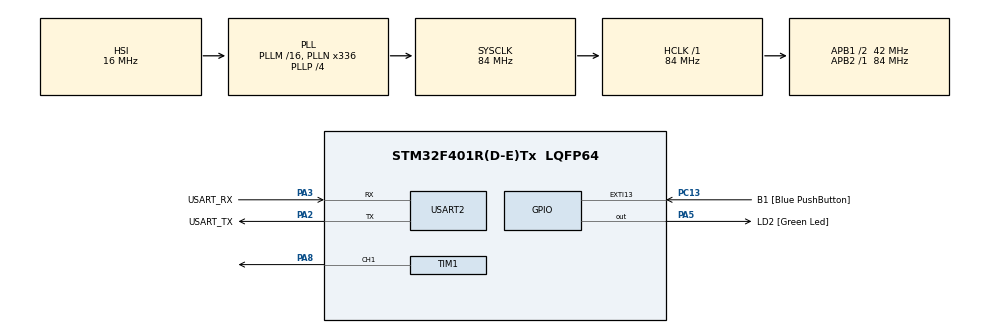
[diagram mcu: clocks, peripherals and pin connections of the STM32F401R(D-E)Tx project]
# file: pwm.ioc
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Mcu.Family=STM32F4
Mcu.Name=STM32F401R(D-E)Tx
Mcu.Package=LQFP64
NVIC.PriorityGroup=NVIC_PRIORITYGROUP_0
NVIC.TIM1_UP_TIM10_IRQn=true\:0\:0\:false\:false\:true\:true\:true\:true
PA13.GPIO_Label=TMS
PA13.Mode=Serial_Wire
PA13.Signal=SYS_JTMS-SWDIO
PA14.GPIO_Label=TCK
PA14.Mode=Serial_Wire
PA14.Signal=SYS_JTCK-SWCLK
PA2.GPIO_Label=USART_TX
PA2.GPIO_Mode=GPIO_MODE_AF_PP
PA2.GPIO_PuPd=GPIO_NOPULL
PA2.GPIO_Speed=GPIO_SPEED_FREQ_LOW
PA2.Mode=Asynchronous
PA2.Signal=USART2_TX
PA3.GPIO_Label=USART_RX
PA3.GPIO_Mode=GPIO_MODE_AF_PP
PA3.GPIO_PuPd=GPIO_NOPULL
PA3.GPIO_Speed=GPIO_SPEED_FREQ_LOW
PA3.Mode=Asynchronous
PA3.Signal=USART2_RX
PA5.GPIO_Label=LD2 [Green Led]
PA5.GPIO_Mode=GPIO_MODE_OUTPUT_PP
PA5.GPIO_PuPd=GPIO_NOPULL
PA5.GPIO_Speed=GPIO_SPEED_FREQ_LOW
PA5.Signal=GPIO_Output
PA8.Signal=S_TIM1_CH1
PB3.GPIO_Label=SWO
PB3.Signal=SYS_JTDO-SWO
PC13-ANTI_TAMP.GPIO_Label=B1 [Blue PushButton]
PC13-ANTI_TAMP.GPIO_ModeDefaultEXTI=GPIO_MODE_IT_FALLING
PC13-ANTI_TAMP.GPIO_PuPd=GPIO_NOPULL
PC13-ANTI_TAMP.Signal=GPXTI13
PC14-OSC32_IN.Mode=LSE-External-Oscillator
PC14-OSC32_IN.Signal=RCC_OSC32_IN
PC15-OSC32_OUT.Mode=LSE-External-Oscillator
PC15-OSC32_OUT.Signal=RCC_OSC32_OUT
PH0\ -\ OSC_IN.Mode=HSE-External-Clock-Source
PH0\ -\ OSC_IN.Signal=RCC_OSC_IN
PH1\ -\ OSC_OUT.Mode=HSE-External-Clock-Source
PH1\ -\ OSC_OUT.Signal=RCC_OSC_OUT
ProjectManager.HeapSize=0x200
ProjectManager.StackSize=0x400
ProjectManager.TargetToolchain=STM32CubeIDE
RCC.48MHZClocksFreq_Value=48000000
RCC.AHBFreq_Value=84000000
RCC.APB1CLKDivider=RCC_HCLK_DIV2
RCC.APB1Freq_Value=42000000
RCC.APB1TimFreq_Value=84000000
RCC.APB2Freq_Value=84000000
RCC.APB2TimFreq_Value=84000000
RCC.CortexFreq_Value=84000000
RCC.HCLKFreq_Value=84000000
RCC.HSE_VALUE=8000000
RCC.HSI_VALUE=16000000
RCC.PLLN=336
RCC.PLLP=RCC_PLLP_DIV4
RCC.PLLQ=7
RCC.SYSCLKFreq_VALUE=84000000
RCC.SYSCLKSource=RCC_SYSCLKSOURCE_PLLCLK
RCC.VCOOutputFreq_Value=336000000
SH.S_TIM1_CH1.0=TIM1_CH1,PWM Generation1 CH1
TIM1.AutoReloadPreload=TIM_AUTORELOAD_PRELOAD_ENABLE
TIM1.Channel-PWM\ Generation1\ CH1=TIM_CHANNEL_1
TIM1.OCFastMode_PWM-PWM\ Generation1\ CH1=TIM_OCFAST_ENABLE
TIM1.Period=47
TIM1.Pulse-PWM\ Generation1\ CH1=23
TIM1.TIM_MasterOutputTrigger=TIM_TRGO_UPDATE
USART2.VirtualMode=VM_ASYNC
VP_TIM1_VS_ClockSourceINT.Mode=Internal
board=NUCLEO-F401RE

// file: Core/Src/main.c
/* USER CODE BEGIN Header */
/**
  ******************************************************************************
  * @file           : main.c
  * @brief          : Main program body
  ******************************************************************************
  * @attention
  *
  * Copyright (c) 2024 STMicroelectronics.
  * All rights reserved.
  *
  * This software is licensed under terms that can be found in the LICENSE file
  * in the root directory of this software component.
  * If no LICENSE file comes with this software, it is provided AS-IS.
  *
  ******************************************************************************
  */
/* USER CODE END Header */
#include "main.h"

TIM_HandleTypeDef htim1;

UART_HandleTypeDef huart2;

/* USER CODE BEGIN PV */
volatile int counter=0;
/* USER CODE END PV */

void SystemClock_Config(void);
static void MX_GPIO_Init(void);
static void MX_USART2_UART_Init(void);
static void MX_TIM1_Init(void);

int main(void)
{

  /* MCU Configuration--------------------------------------------------------*/

  /* Reset of all peripherals, Initializes the Flash interface and the Systick. */
  HAL_Init();

  /* Configure the system clock */
  SystemClock_Config();

  /* Initialize all configured peripherals */
  MX_GPIO_Init();
  MX_USART2_UART_Init();
  MX_TIM1_Init();
  /* USER CODE BEGIN 2 */
  HAL_TIM_PWM_Start(&htim1, TIM_CHANNEL_1);
  HAL_TIM_Base_Start_IT(&htim1);
  /* USER CODE END 2 */

  /* Infinite loop */
  while (1)
  {

  }
}

void SystemClock_Config(void)
{
  RCC_OscInitTypeDef RCC_OscInitStruct = {0};
  RCC_ClkInitTypeDef RCC_ClkInitStruct = {0};

  /** Configure the main internal regulator output voltage
  */
  __HAL_RCC_PWR_CLK_ENABLE();
  __HAL_PWR_VOLTAGESCALING_CONFIG(PWR_REGULATOR_VOLTAGE_SCALE2);

  /** Initializes the RCC Oscillators according to the specified parameters
  * in the RCC_OscInitTypeDef structure.
  */
  RCC_OscInitStruct.OscillatorType = RCC_OSCILLATORTYPE_HSI;
  RCC_OscInitStruct.HSIState = RCC_HSI_ON;
  RCC_OscInitStruct.HSICalibrationValue = RCC_HSICALIBRATION_DEFAULT;
  RCC_OscInitStruct.PLL.PLLState = RCC_PLL_ON;
  RCC_OscInitStruct.PLL.PLLSource = RCC_PLLSOURCE_HSI;
  RCC_OscInitStruct.PLL.PLLM = 16;
  RCC_OscInitStruct.PLL.PLLN = 336;
  RCC_OscInitStruct.PLL.PLLP = RCC_PLLP_DIV4;
  RCC_OscInitStruct.PLL.PLLQ = 7;
  if (HAL_RCC_OscConfig(&RCC_OscInitStruct) != HAL_OK)
  {
    Error_Handler();
  }

  /** Initializes the CPU, AHB and APB buses clocks
  */
  RCC_ClkInitStruct.ClockType = RCC_CLOCKTYPE_HCLK|RCC_CLOCKTYPE_SYSCLK
                              |RCC_CLOCKTYPE_PCLK1|RCC_CLOCKTYPE_PCLK2;
  RCC_ClkInitStruct.SYSCLKSource = RCC_SYSCLKSOURCE_PLLCLK;
  RCC_ClkInitStruct.AHBCLKDivider = RCC_SYSCLK_DIV1;
  RCC_ClkInitStruct.APB1CLKDivider = RCC_HCLK_DIV2;
  RCC_ClkInitStruct.APB2CLKDivider = RCC_HCLK_DIV1;

  if (HAL_RCC_ClockConfig(&RCC_ClkInitStruct, FLASH_LATENCY_2) != HAL_OK)
  {
    Error_Handler();
  }
}

static void MX_TIM1_Init(void)
{

  TIM_ClockConfigTypeDef sClockSourceConfig = {0};
  TIM_MasterConfigTypeDef sMasterConfig = {0};
  TIM_OC_InitTypeDef sConfigOC = {0};
  TIM_BreakDeadTimeConfigTypeDef sBreakDeadTimeConfig = {0};

  htim1.Instance = TIM1;
  htim1.Init.Prescaler = 0;
  htim1.Init.CounterMode = TIM_COUNTERMODE_UP;
  htim1.Init.Period = 47;
  htim1.Init.ClockDivision = TIM_CLOCKDIVISION_DIV1;
  htim1.Init.RepetitionCounter = 0;
  htim1.Init.AutoReloadPreload = TIM_AUTORELOAD_PRELOAD_ENABLE;
  if (HAL_TIM_Base_Init(&htim1) != HAL_OK)
  {
    Error_Handler();
  }
  sClockSourceConfig.ClockSource = TIM_CLOCKSOURCE_INTERNAL;
  if (HAL_TIM_ConfigClockSource(&htim1, &sClockSourceConfig) != HAL_OK)
  {
    Error_Handler();
  }
  if (HAL_TIM_PWM_Init(&htim1) != HAL_OK)
  {
    Error_Handler();
  }
  sMasterConfig.MasterOutputTrigger = TIM_TRGO_UPDATE;
  sMasterConfig.MasterSlaveMode = TIM_MASTERSLAVEMODE_DISABLE;
  if (HAL_TIMEx_MasterConfigSynchronization(&htim1, &sMasterConfig) != HAL_OK)
  {
    Error_Handler();
  }
  sConfigOC.OCMode = TIM_OCMODE_PWM1;
  sConfigOC.Pulse = 23;
  sConfigOC.OCPolarity = TIM_OCPOLARITY_HIGH;
  sConfigOC.OCNPolarity = TIM_OCNPOLARITY_HIGH;
  sConfigOC.OCFastMode = TIM_OCFAST_ENABLE;
  sConfigOC.OCIdleState = TIM_OCIDLESTATE_RESET;
  sConfigOC.OCNIdleState = TIM_OCNIDLESTATE_RESET;
  if (HAL_TIM_PWM_ConfigChannel(&htim1, &sConfigOC, TIM_CHANNEL_1) != HAL_OK)
  {
    Error_Handler();
  }
  sBreakDeadTimeConfig.OffStateRunMode = TIM_OSSR_DISABLE;
  sBreakDeadTimeConfig.OffStateIDLEMode = TIM_OSSI_DISABLE;
  sBreakDeadTimeConfig.LockLevel = TIM_LOCKLEVEL_OFF;
  sBreakDeadTimeConfig.DeadTime = 0;
  sBreakDeadTimeConfig.BreakState = TIM_BREAK_DISABLE;
  sBreakDeadTimeConfig.BreakPolarity = TIM_BREAKPOLARITY_HIGH;
  sBreakDeadTimeConfig.AutomaticOutput = TIM_AUTOMATICOUTPUT_DISABLE;
  if (HAL_TIMEx_ConfigBreakDeadTime(&htim1, &sBreakDeadTimeConfig) != HAL_OK)
  {
    Error_Handler();
  }
  HAL_TIM_MspPostInit(&htim1);

}

static void MX_USART2_UART_Init(void)
{

  huart2.Instance = USART2;
  huart2.Init.BaudRate = 115200;
  huart2.Init.WordLength = UART_WORDLENGTH_8B;
  huart2.Init.StopBits = UART_STOPBITS_1;
  huart2.Init.Parity = UART_PARITY_NONE;
  huart2.Init.Mode = UART_MODE_TX_RX;
  huart2.Init.HwFlowCtl = UART_HWCONTROL_NONE;
  huart2.Init.OverSampling = UART_OVERSAMPLING_16;
  if (HAL_UART_Init(&huart2) != HAL_OK)
  {
    Error_Handler();
  }

}

static void MX_GPIO_Init(void)
{
  GPIO_InitTypeDef GPIO_InitStruct = {0};

  /* GPIO Ports Clock Enable */
  __HAL_RCC_GPIOC_CLK_ENABLE();
  __HAL_RCC_GPIOH_CLK_ENABLE();
  __HAL_RCC_GPIOA_CLK_ENABLE();
  __HAL_RCC_GPIOB_CLK_ENABLE();

  /*Configure GPIO pin Output Level */
  HAL_GPIO_WritePin(LD2_GPIO_Port, LD2_Pin, GPIO_PIN_RESET);

  /*Configure GPIO pin : B1_Pin */
  GPIO_InitStruct.Pin = B1_Pin;
  GPIO_InitStruct.Mode = GPIO_MODE_IT_FALLING;
  GPIO_InitStruct.Pull = GPIO_NOPULL;
  HAL_GPIO_Init(B1_GPIO_Port, &GPIO_InitStruct);

  /*Configure GPIO pin : LD2_Pin */
  GPIO_InitStruct.Pin = LD2_Pin;
  GPIO_InitStruct.Mode = GPIO_MODE_OUTPUT_PP;
  GPIO_InitStruct.Pull = GPIO_NOPULL;
  GPIO_InitStruct.Speed = GPIO_SPEED_FREQ_LOW;
  HAL_GPIO_Init(LD2_GPIO_Port, &GPIO_InitStruct);

}

/* USER CODE BEGIN 4 */
void HAL_TIM_PeriodElapsedCallback(TIM_HandleTypeDef *htim){
	if(htim->Instance==TIM1){
	  if (counter<4){
		  counter+=1;

		  if (counter==1){
			  __HAL_TIM_SET_COMPARE(&htim1,TIM_CHANNEL_1, 23);
		  }
		  if (counter==2){
			  __HAL_TIM_SET_COMPARE(&htim1,TIM_CHANNEL_1, 0);
		  	  __HAL_TIM_SET_AUTORELOAD(&htim1, 37);

		  }
		  if (counter==3){
	  		  __HAL_TIM_SET_COMPARE(&htim1,TIM_CHANNEL_1, 19);
	  	  }
	  }
	  else {
		  counter=0;
		  __HAL_TIM_SET_COMPARE(&htim1,TIM_CHANNEL_1, 0);
		  __HAL_TIM_SET_AUTORELOAD(&htim1, 47);

	  }

	}
}
/* USER CODE END 4 */

void Error_Handler(void)
{
  __disable_irq();
  while (1)
  {
  }
}
